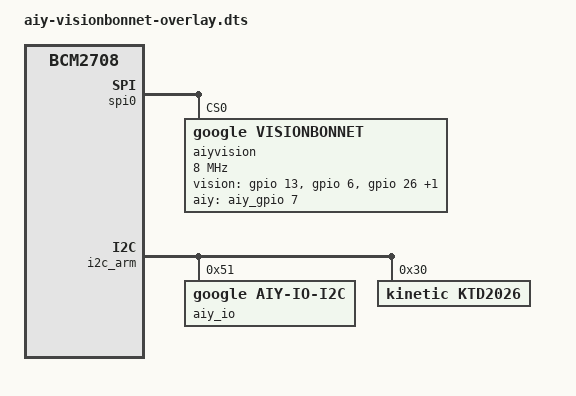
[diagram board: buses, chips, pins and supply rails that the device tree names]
// Definitions for Google visionbonnet v1 overlay
/dts-v1/;
/plugin/;

/ {
	compatible = "brcm,bcm2708";

	fragment@0 {
		target = <&spi0>;
		__overlay__ {
			status = "okay";
		};
	};

	fragment@1 {
		target = <&spidev0>;
		__overlay__ {
			status = "disabled";
		};
	};

	fragment@2 {
		target = <&gpio>;
		__overlay__ {
			aiyvision_pins: aiyvision_pins {
				brcm,pins = <6 13 26 8>;
				brcm,function = <0 0 0 1>;
				brcm,pull = <0 2 0 2>;
			};
		};
	};

	fragment@3 {
		target = <&spi0_cs_pins>;
		__overlay__ {
			brcm,pins = <>;
		};
	};

	fragment@4 {
		target = <&i2c_arm>;
		__overlay__ {
			#address-cells = <1>;
			#size-cells = <0>;
			status = "okay";
			aiy_io: aiy-io-i2c@51 {
				compatible = "google,aiy-io-i2c";
				reg = <0x51>;
				type = "vision";
				status = "okay";
				aiy_gpio: aiy-gpio {
					compatible = "google,gpio-aiy-io";
					gpio-controller;
					#gpio-cells = <2>;
				};
			};
			ktd2026@30 {
				compatible = "kinetic,ktd2026";
				reg = <0x30>;
				status = "okay";
			};
		};
	};

	fragment@5 {
		target = <&spi0>;
		__overlay__ {
			#address-cells = <1>;
			#size-cells = <0>;
			aiyvision@0 {
				compatible = "google,visionbonnet";
				pinctrl-names = "default";
				pinctrl-0 = <&aiyvision_pins>;
				spi-max-frequency = <8000000>;
				vision-gpios = <&gpio 13 0>,
						<&gpio 6 0>,
						<&gpio 26 0>,
						<&gpio 8 0>;
				aiy-gpios = <&aiy_gpio 7 0>;
				reg = <0>;
				status = "okay";
			};
		};
	};
};
